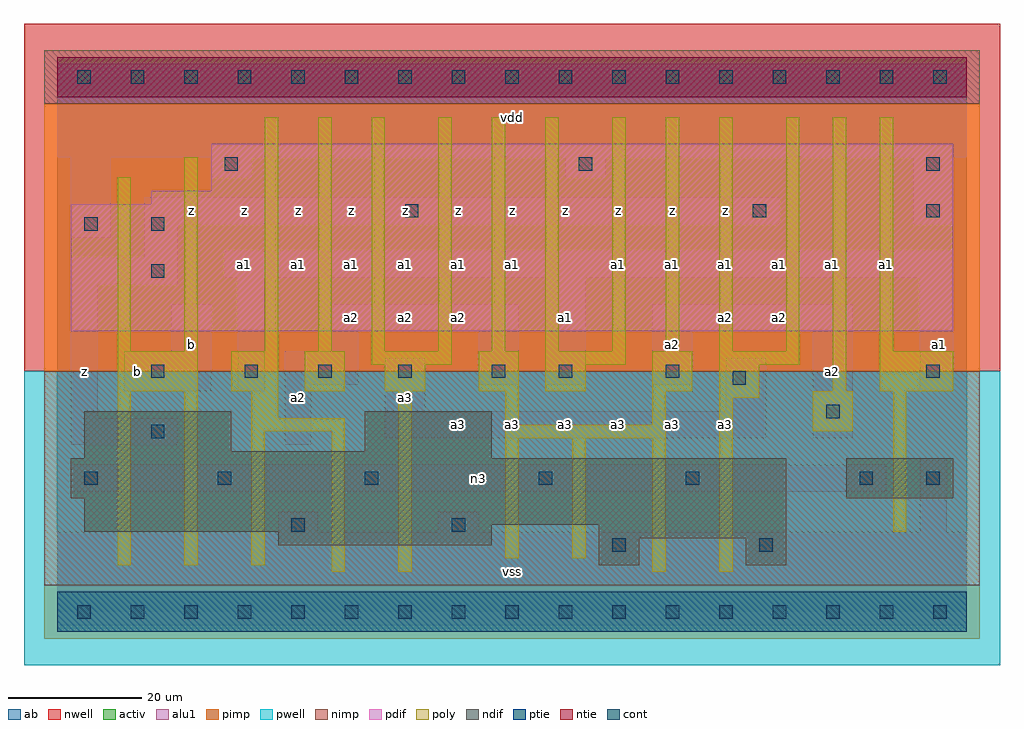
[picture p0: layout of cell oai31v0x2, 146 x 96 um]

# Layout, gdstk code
import gdstk
lib = gdstk.Library(unit=1e-6, precision=1e-09)
def R(c, l, rs):  # rectangles x0, y0, x1, y1
    for r in rs: c.add(gdstk.rectangle(r[:2], r[2:], *l))
def A(c, l, x, y, w, h, nx, ny, dx, dy):  # array of equal rectangles
    R(c, l, [(x+i*dx, y+j*dy, x+i*dx+w, y+j*dy+h) for i in range(nx) for j in range(ny)])
ndif = (3, 0)
pdif = (4, 0)
ntie = (5, 0)
ptie = (6, 0)
cont = (25, 0)
pwell = (41, 0)
nwell = (42, 0)
activ = (43, 0)
pimp = (44, 0)
nimp = (45, 0)
poly = (46, 0)
alu1 = (49, 0)
ab = (63, 0)

oai31v0x2 = lib.new_cell('oai31v0x2')
R(oai31v0x2, ndif, [(81,7,87,11), (103,7,109,11), (33,10,65,12), (81,11,109,13), (4,12,65,13), (4,13,109,17), (2,17,109,23), (118,17,134,23), (4,23,65,24), (4,24,26,30), (46,24,65,30)])
R(oai31v0x2, pdif, [(2,42,134,61), (14,61,134,63), (23,63,134,70)])
R(oai31v0x2, ntie, [(0,77,136,83)])
R(oai31v0x2, ptie, [(0,-3,136,3)])
A(oai31v0x2, cont, 3, -1, 2, 2, 17, 2, 8, 80)
R(oai31v0x2, cont, [(83,9,85,11), (105,9,107,11), (35,12,37,14), (59,12,61,14), (4,19,6,21), (24,19,26,21), (46,19,48,21), (72,19,74,21), (94,19,96,21), (120,19,122,21), (130,19,132,21), (14,26,16,28), (115,29,117,31), (101,34,103,36), (14,35,16,37), (28,35,30,37), (39,35,41,37), (51,35,53,37), (65,35,67,37), (75,35,77,37), (91,35,93,37), (130,35,132,37), (14,50,16,52), (4,57,6,59), (14,57,16,59), (52,59,54,61), (104,59,106,61), (130,59,132,61), (25,66,27,68), (78,66,80,68), (130,66,132,68)])
R(oai31v0x2, pwell, [(-5,-8,141,36)])
R(oai31v0x2, nwell, [(-5,36,141,88)])
R(oai31v0x2, activ, [(0,-3,136,3), (81,7,87,11), (103,7,109,11), (33,10,65,12), (81,11,109,13), (4,12,65,13), (4,13,109,17), (2,17,109,23), (118,17,134,23), (4,23,65,24), (4,24,26,30), (46,24,65,30), (2,42,134,61), (14,61,134,63), (23,63,134,70), (0,77,136,83)])
R(oai31v0x2, pimp, [(-2,-4,138,4), (-2,36,138,76)])
R(oai31v0x2, nimp, [(-2,4,138,36), (-2,76,138,84)])
A(oai31v0x2, poly, 37, 33, 6, 6, 3, 1, 26, 0)
A(oai31v0x2, poly, 47, 37, 12, 2, 3, 1, 26, 0)
A(oai31v0x2, poly, 31, 39, 2, 35, 3, 1, 8, 0)
A(oai31v0x2, poly, 57, 39, 2, 35, 3, 1, 8, 0)
A(oai31v0x2, poly, 83, 39, 2, 35, 3, 1, 8, 0)
R(oai31v0x2, poly, [(41,6,43,27), (51,6,53,33), (89,6,91,26), (99,6,101,32), (9,7,11,33), (19,7,21,33), (29,7,31,27), (67,8,69,26), (77,8,79,26), (125,12,127,33), (67,26,91,28), (29,27,43,29), (113,27,119,33), (67,28,69,33), (89,28,91,33), (29,29,33,33), (99,32,105,37), (9,33,21,39), (26,33,33,39), (49,33,55,37), (73,33,79,37), (116,33,118,74), (123,33,134,39), (9,39,11,65), (19,39,21,68), (109,39,111,74), (123,39,125,74)])
R(oai31v0x2, alu1, [(0,-2,136,12), (33,12,39,15), (57,12,63,15), (129,12,133,23), (2,18,124,22), (2,25,18,29), (34,25,38,34), (49,26,106,30), (113,26,119,42), (2,29,6,49), (49,30,55,38), (100,30,106,38), (10,33,23,39), (27,33,31,50), (129,33,134,50), (34,34,45,39), (63,34,69,42), (73,34,79,50), (89,34,95,42), (17,39,23,46), (41,39,45,42), (41,42,69,46), (89,42,119,46), (2,49,18,53), (25,50,134,54), (13,53,18,58), (2,56,8,68), (13,58,108,62), (128,58,134,68), (23,65,29,68), (76,65,82,68), (0,68,136,82)])
R(oai31v0x2, ab, [(0,0,136,80)])
oai31v0x2.add(gdstk.Label('n3', (63,20), layer=49, texttype=0))
oai31v0x2.add(gdstk.Label('b', (12,36), layer=49, texttype=0))
oai31v0x2.add(gdstk.Label('b', (20,40), layer=49, texttype=0))
oai31v0x2.add(gdstk.Label('z', (4,36), layer=49, texttype=0))
oai31v0x2.add(gdstk.Label('z', (20,60), layer=49, texttype=0))
oai31v0x2.add(gdstk.Label('a2', (36,32), layer=49, texttype=0))
oai31v0x2.add(gdstk.Label('a2', (44,44), layer=49, texttype=0))
oai31v0x2.add(gdstk.Label('a1', (36,52), layer=49, texttype=0))
oai31v0x2.add(gdstk.Label('a1', (44,52), layer=49, texttype=0))
oai31v0x2.add(gdstk.Label('a1', (28,52), layer=49, texttype=0))
oai31v0x2.add(gdstk.Label('z', (28,60), layer=49, texttype=0))
oai31v0x2.add(gdstk.Label('z', (36,60), layer=49, texttype=0))
oai31v0x2.add(gdstk.Label('z', (44,60), layer=49, texttype=0))
oai31v0x2.add(gdstk.Label('vss', (68,6), layer=49, texttype=0))
oai31v0x2.add(gdstk.Label('a3', (60,28), layer=49, texttype=0))
oai31v0x2.add(gdstk.Label('a3', (68,28), layer=49, texttype=0))
oai31v0x2.add(gdstk.Label('a3', (76,28), layer=49, texttype=0))
oai31v0x2.add(gdstk.Label('a3', (52,32), layer=49, texttype=0))
oai31v0x2.add(gdstk.Label('a2', (52,44), layer=49, texttype=0))
oai31v0x2.add(gdstk.Label('a1', (76,44), layer=49, texttype=0))
oai31v0x2.add(gdstk.Label('a2', (60,44), layer=49, texttype=0))
oai31v0x2.add(gdstk.Label('a1', (60,52), layer=49, texttype=0))
oai31v0x2.add(gdstk.Label('a1', (68,52), layer=49, texttype=0))
oai31v0x2.add(gdstk.Label('a1', (52,52), layer=49, texttype=0))
oai31v0x2.add(gdstk.Label('z', (52,60), layer=49, texttype=0))
oai31v0x2.add(gdstk.Label('z', (60,60), layer=49, texttype=0))
oai31v0x2.add(gdstk.Label('z', (68,60), layer=49, texttype=0))
oai31v0x2.add(gdstk.Label('z', (76,60), layer=49, texttype=0))
oai31v0x2.add(gdstk.Label('vdd', (68,74), layer=49, texttype=0))
oai31v0x2.add(gdstk.Label('a3', (84,28), layer=49, texttype=0))
oai31v0x2.add(gdstk.Label('a3', (100,28), layer=49, texttype=0))
oai31v0x2.add(gdstk.Label('a3', (92,28), layer=49, texttype=0))
oai31v0x2.add(gdstk.Label('a2', (100,44), layer=49, texttype=0))
oai31v0x2.add(gdstk.Label('a2', (108,44), layer=49, texttype=0))
oai31v0x2.add(gdstk.Label('a2', (92,40), layer=49, texttype=0))
oai31v0x2.add(gdstk.Label('a1', (100,52), layer=49, texttype=0))
oai31v0x2.add(gdstk.Label('a1', (108,52), layer=49, texttype=0))
oai31v0x2.add(gdstk.Label('a1', (92,52), layer=49, texttype=0))
oai31v0x2.add(gdstk.Label('a1', (84,52), layer=49, texttype=0))
oai31v0x2.add(gdstk.Label('z', (84,60), layer=49, texttype=0))
oai31v0x2.add(gdstk.Label('z', (100,60), layer=49, texttype=0))
oai31v0x2.add(gdstk.Label('z', (92,60), layer=49, texttype=0))
oai31v0x2.add(gdstk.Label('a1', (132,40), layer=49, texttype=0))
oai31v0x2.add(gdstk.Label('a2', (116,36), layer=49, texttype=0))
oai31v0x2.add(gdstk.Label('a1', (116,52), layer=49, texttype=0))
oai31v0x2.add(gdstk.Label('a1', (124,52), layer=49, texttype=0))

lib.write_gds('oai31v0x2.gds')
